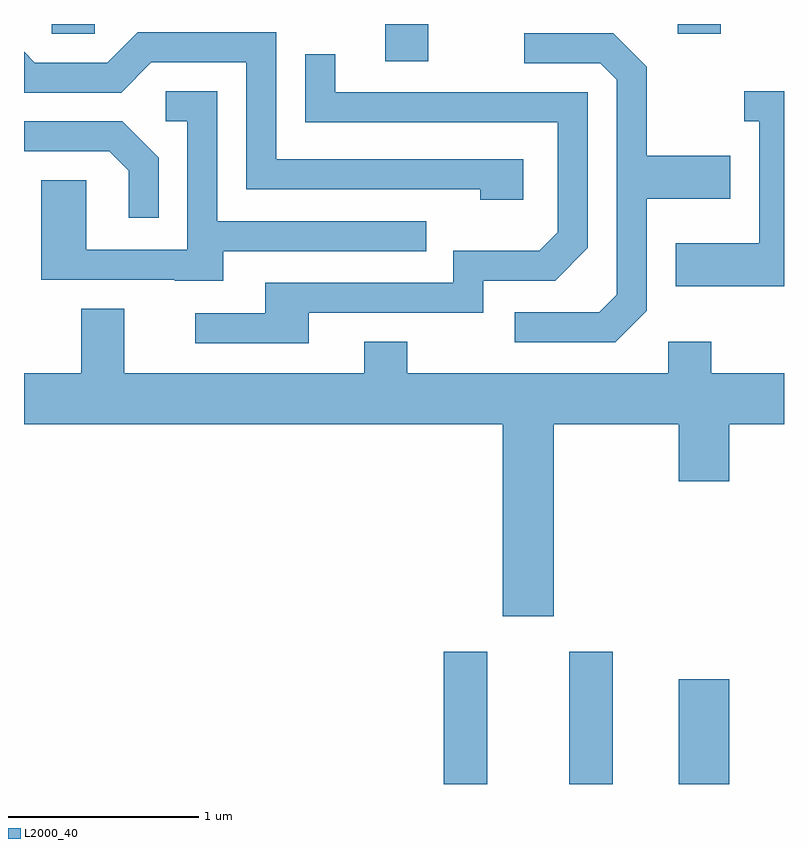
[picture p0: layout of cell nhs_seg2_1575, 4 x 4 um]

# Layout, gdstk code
import gdstk
lib = gdstk.Library(unit=1e-6, precision=1e-09)
def R(c, l, rs):  # rectangles x0, y0, x1, y1
    for r in rs: c.add(gdstk.rectangle(r[:2], r[2:], *l))
def P(c, l, *ps):  # polygons
    for p in ps: c.add(gdstk.Polygon(p, *l))
L2000_40 = (2000, 40)

nhs_seg2_1575 = lib.new_cell('nhs_seg2_1575')
R(nhs_seg2_1575, L2000_40, [(233.821,999.802,234.049,1000.499), (234.481,999.802,234.709,1000.499), (235.056,999.802,235.324,1000.354), (233.511,1003.606,233.739,1003.802), (231.756,1003.751,231.984,1003.802), (235.051,1003.751,235.279,1003.802)])
P(nhs_seg2_1575, L2000_40, [(234.239,1003.089),(232.939,1003.089),(232.939,1003.759),(232.209,1003.759),(232.049,1003.599),(231.667,1003.599),(231.611,1003.655),(231.611,1003.441),(232.122,1003.441),(232.282,1003.601),(232.781,1003.601),(232.781,1002.931),(234.011,1002.931),(234.011,1002.876),(234.239,1002.876)],
  [(234.889,1002.294),(234.889,1002.881),(235.329,1002.881),(235.329,1003.109),(234.889,1003.109),(234.889,1003.577),(234.712,1003.754),(234.243,1003.754),(234.243,1003.596),(234.644,1003.596),(234.731,1003.509),(234.731,1002.377),(234.639,1002.284),(234.193,1002.284),(234.193,1002.126),(234.722,1002.126)],
  [(233.109,1002.281),(234.029,1002.281),(234.029,1002.451),(234.407,1002.451),(234.579,1002.624),(234.579,1003.444),(233.249,1003.444),(233.249,1003.643),(233.091,1003.643),(233.091,1003.286),(234.421,1003.286),(234.421,1002.707),(234.324,1002.609),(233.871,1002.609),(233.871,1002.439),(232.881,1002.439),(232.881,1002.279),(232.513,1002.279),(232.513,1002.121),(233.109,1002.121)],
  [(232.659,1002.606),(233.728,1002.606),(233.728,1002.764),(232.629,1002.764),(232.629,1003.449),(232.358,1003.449),(232.358,1003.291),(232.471,1003.291),(232.471,1002.614),(231.939,1002.614),(231.939,1002.979),(231.701,1002.979),(231.701,1002.456),(232.405,1002.456),(232.405,1002.451),(232.659,1002.451)],
  [(235.611,1003.449),(235.403,1003.449),(235.403,1003.291),(235.481,1003.291),(235.481,1002.649),(235.041,1002.649),(235.041,1002.421),(235.611,1002.421)],
  [(232.319,1003.097),(232.127,1003.289),(231.611,1003.289),(231.611,1003.131),(232.059,1003.131),(232.161,1003.029),(232.161,1002.783),(232.319,1002.783)],
  [(234.399,1001.696),(235.056,1001.696),(235.056,1001.396),(235.324,1001.396),(235.324,1001.696),(235.611,1001.696),(235.611,1001.964),(235.229,1001.964),(235.229,1002.129),(235.001,1002.129),(235.001,1001.964),(233.629,1001.964),(233.629,1002.129),(233.401,1002.129),(233.401,1001.964),(232.139,1001.964),(232.139,1002.304),(231.911,1002.304),(231.911,1001.964),(231.611,1001.964),(231.611,1001.696),(234.131,1001.696),(234.131,1000.686),(234.399,1000.686)])

lib.write_gds('nhs_seg2_1575.gds')
